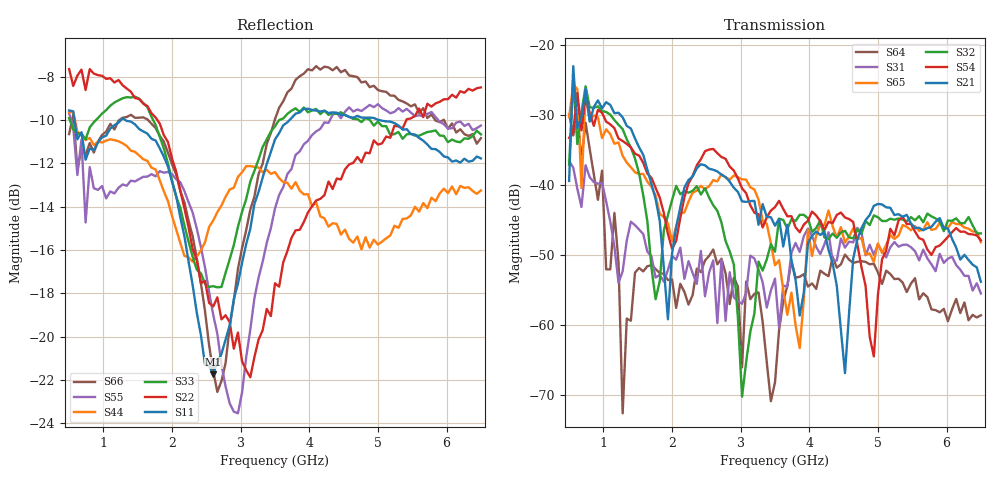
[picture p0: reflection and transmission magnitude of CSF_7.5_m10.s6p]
!Keysight Technologies,M9804A,MY58100912,A.14.10.03
!Date: Thursday, April 27, 2023 10:28:33
!Correction: S11(C  6-Port  )
!S12(C  6-Port  )
!S13(C  6-Port  )
!S14(C  6-Port  )
!S15(C  6-Port  )
!S16(C  6-Port  )
!S21(C  6-Port  )
!S22(C  6-Port  )
!S23(C  6-Port  )
!S24(C  6-Port  )
!S25(C  6-Port  )
!S26(C  6-Port  )
!S31(C  6-Port  )
!S32(C  6-Port  )
!S33(C  6-Port  )
!S34(C  6-Port  )
!S35(C  6-Port  )
!S36(C  6-Port  )
!S41(C  6-Port  )
!S42(C  6-Port  )
!S43(C  6-Port  )
!S44(C  6-Port  )
!S45(C  6-Port  )
!S46(C  6-Port  )
!S51(C  6-Port  )
!S52(C  6-Port  )
!S53(C  6-Port  )
!S54(C  6-Port  )
!S55(C  6-Port  )
!S56(C  6-Port  )
!S61(C  6-Port  )
!S62(C  6-Port  )
!S63(C  6-Port  )
!S64(C  6-Port  )
!S65(C  6-Port  )
!S66(C  6-Port  )
!S6P File: Measurement: :
# Hz S  RI  R 50
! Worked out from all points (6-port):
!   101 points, 500 MHz to 6.5 GHz, reference 50 ohm
!   strongest paths, dB at 500 MHz, 2 GHz, 3.5 GHz, 5 GHz, 6.5 GHz:
!     S21: -39.4, -49.8, -45.8, -42.7, -53.8
!     S54: -33.3, -49.1, -43.2, -55.6, -47.9
!     S32: -37.1, -42.2, -49.5, -44.6, -46.9
!     S65: -30.3, -48.0, -51.4, -48.3, -48.2
!     S31: -36.6, -50.1, -53.3, -48.5, -55.5
!     S64: -29.9, -53.5, -68.1, -52.5, -58.6
!   lowest |S11| = -21.7 dB at 2.6 GHz (marker M1), VSWR 1.18, Z = 42.7 + j2.08 ohm
!   |S11| at or under -10 dB: 578.5 MHz to 1.258 GHz (679.9 MHz wide, 74 % of centre); 1.316 GHz to 3.714 GHz (2.398 GHz wide, 95.3 % of centre); 5.012 GHz to end of sweep
